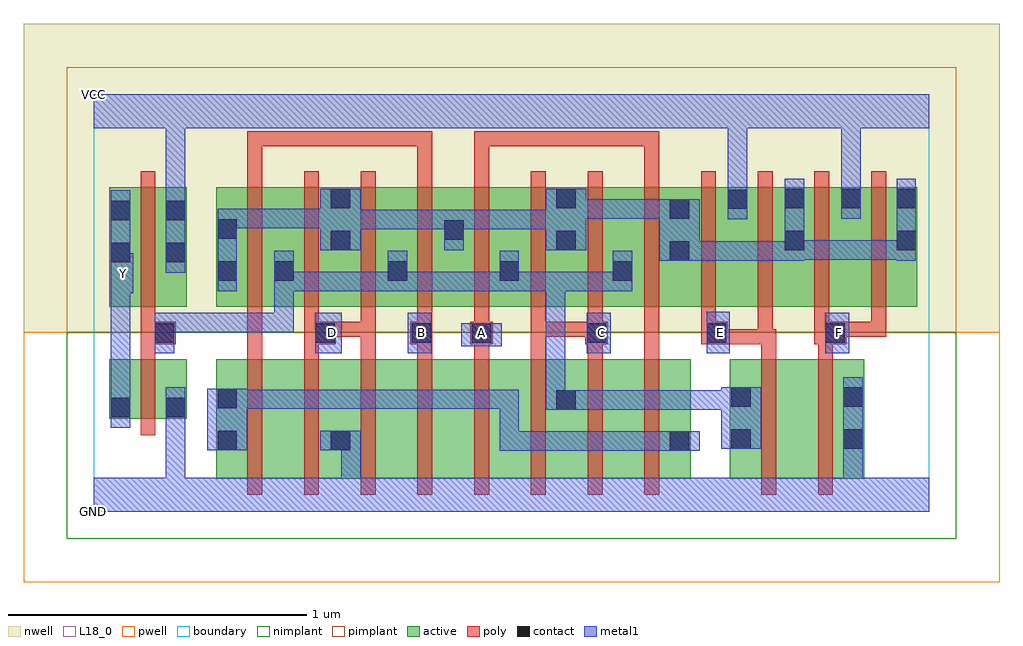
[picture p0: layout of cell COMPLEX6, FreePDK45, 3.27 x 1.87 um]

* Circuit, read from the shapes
.subckt COMPLEX6 A B C D E F GND VCC Y
M1 GND n1 Y VSUBS nfet w=0.2u l=0.05u
M2 n2 B n3 VSUBS nfet w=0.4u l=0.05u
M3 GND D n2 VSUBS nfet w=0.4u l=0.05u
M4 n4 D GND VSUBS nfet w=0.4u l=0.05u
M5 n5 B n4 VSUBS nfet w=0.4u l=0.05u
M6 n6 A n5 VSUBS nfet w=0.4u l=0.05u
M7 n1 C n6 VSUBS nfet w=0.4u l=0.05u
M8 n7 C n1 VSUBS nfet w=0.4u l=0.05u
M9 n3 A n7 VSUBS nfet w=0.4u l=0.05u
M10 n8 E n1 VSUBS nfet w=0.4u l=0.05u
M11 GND F n8 VSUBS nfet w=0.4u l=0.05u
M12 VCC n1 Y n9 pfet w=0.4u l=0.05u
M13 n1 B n10 n9 pfet w=0.4u l=0.05u m=2
M14 n10 D n1 n9 pfet w=0.4u l=0.05u m=2
M15 n1 A n10 n9 pfet w=0.4u l=0.05u m=2
M16 n10 C n1 n9 pfet w=0.4u l=0.05u m=2
M17 VCC E n10 n9 pfet w=0.4u l=0.05u m=2
M18 VCC F n10 n9 pfet w=0.4u l=0.05u m=2
.ends

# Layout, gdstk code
import gdstk
lib = gdstk.Library(unit=1e-6, precision=1e-09)
def R(c, l, rs):  # rectangles x0, y0, x1, y1
    for r in rs: c.add(gdstk.rectangle(r[:2], r[2:], *l))
def A(c, l, x, y, w, h, nx, ny, dx, dy):  # array of equal rectangles
    R(c, l, [(x+i*dx, y+j*dy, x+i*dx+w, y+j*dy+h) for i in range(nx) for j in range(ny)])
active = (1, 0)
pwell = (2, 0)
nwell = (3, 0)
nimplant = (4, 0)
pimplant = (5, 0)
poly = (9, 0)
contact = (10, 0)
metal1 = (11, 0)
L18_0 = (18, 0)
boundary = (235, 0)

complex6 = lib.new_cell('COMPLEX6')
A(complex6, active, 0.41, 0.687, 0.265, 0.4, 4, 1, 0.19, 0)
A(complex6, active, 1.355, 0.687, 0.265, 0.4, 3, 1, 0.19, 0)
R(complex6, active, [(0.41,0.112,0.635,0.512), (0.635,0.112,0.865,0.512), (0.79,0.112,1.015,0.512), (1.015,0.112,1.205,0.512), (1.205,0.112,1.395,0.512), (1.395,0.112,1.62,0.512), (1.545,0.112,1.775,0.512), (1.775,0.112,2,0.512), (2.132,0.112,2.357,0.512), (2.357,0.112,2.582,0.512), (0.41,0.147,0.515,0.512), (0.79,0.147,0.865,0.492), (1.545,0.147,1.62,0.492), (1.925,0.147,2,0.512), (2.132,0.147,2.237,0.512), (2.507,0.147,2.582,0.512), (0.052,0.312,0.127,0.512), (0.052,0.312,0.312,0.512), (0.237,0.312,0.312,0.512), (0.052,0.687,0.312,1.087), (0.052,0.687,0.127,1.057), (0.237,0.687,0.312,1.087), (0.41,0.687,0.485,1.067), (0.6,0.687,0.675,1.067), (1.17,0.687,1.43,1.087), (1.355,0.687,1.43,1.067), (1.735,0.687,1.81,1.067), (1.925,0.687,2.195,1.087), (2.12,0.687,2.385,1.087), (2.31,0.687,2.575,1.087), (2.5,0.687,2.76,1.087), (2.685,0.687,2.76,1.087), (0.98,0.77,1.055,1.067), (0.79,0.782,0.865,1.087), (1.545,0.782,1.62,1.087), (1.925,0.782,2,1.087), (2.12,0.782,2.195,1.085), (2.31,0.787,2.385,1.087), (1.17,0.802,1.245,1.067), (2.5,0.802,2.575,1.087)])
R(complex6, pwell, [(-0.235,-0.235,3.035,0.602)])
R(complex6, nwell, [(-0.235,0.602,3.035,1.635)])
R(complex6, nimplant, [(-0.09,-0.09,2.89,0.602)])
R(complex6, pimplant, [(-0.09,0.602,2.89,1.49)])
A(complex6, poly, 0.515, 0.057, 0.05, 0.51, 8, 1, 0.19, 0)
A(complex6, poly, 0.515, 0.587, 0.05, 0.095, 7, 1, 0.19, 0)
A(complex6, poly, 0.515, 0.632, 0.05, 0.51, 12, 1, 0.19, 0)
R(complex6, poly, [(2.237,0.057,2.287,0.567), (2.427,0.057,2.477,0.567), (0.157,0.257,0.207,0.567), (0.157,0.517,0.207,0.612), (0.515,0.517,0.565,0.637), (0.705,0.517,0.755,0.612), (0.895,0.517,0.945,0.637), (1.085,0.517,1.135,0.612), (1.275,0.517,1.325,0.612), (1.465,0.517,1.515,0.637), (1.655,0.517,1.705,0.612), (1.845,0.517,1.895,0.612), (2.237,0.517,2.287,0.612), (2.427,0.517,2.477,0.612), (0.157,0.562,0.275,0.637), (0.705,0.562,0.812,0.637), (1.06,0.562,1.135,0.637), (1.262,0.562,1.337,0.637), (1.647,0.562,1.722,0.637), (1.845,0.562,1.895,0.612), (1.845,0.562,1.895,0.682), (2.035,0.562,2.125,0.637), (2.075,0.562,2.275,0.612), (2.225,0.562,2.275,0.612), (2.225,0.562,2.275,0.612), (2.225,0.562,2.275,0.682), (2.225,0.562,2.287,0.612), (2.415,0.562,2.522,0.637), (0.157,0.587,0.207,0.682), (0.515,0.587,0.565,0.637), (0.762,0.587,0.945,0.637), (0.895,0.587,0.945,0.637), (0.895,0.587,0.945,0.637), (0.895,0.587,0.945,0.637), (1.465,0.587,1.515,0.637), (1.465,0.587,1.515,0.637), (1.465,0.587,1.515,0.637), (1.465,0.587,1.697,0.637), (2.035,0.587,2.085,0.682), (2.415,0.587,2.465,0.682), (2.472,0.587,2.655,0.637), (2.605,0.587,2.655,0.682), (2.605,0.587,2.655,0.637), (2.605,0.587,2.655,0.637), (2.605,0.587,2.655,0.637), (0.157,0.632,0.207,1.142), (0.515,1.092,0.565,1.275), (1.085,1.092,1.135,1.275), (1.275,1.092,1.325,1.275), (1.845,1.092,1.895,1.275), (0.515,1.225,0.565,1.275), (0.515,1.225,0.697,1.275), (0.647,1.225,0.697,1.275), (0.647,1.225,0.697,1.275), (0.647,1.225,0.697,1.275), (0.647,1.225,0.945,1.275), (0.895,1.225,0.945,1.275), (0.895,1.225,0.945,1.275), (0.895,1.225,0.945,1.275), (0.895,1.225,1.135,1.275), (1.085,1.225,1.135,1.275), (1.085,1.225,1.135,1.275), (1.085,1.225,1.135,1.275), (1.275,1.225,1.325,1.275), (1.275,1.225,1.325,1.275), (1.275,1.225,1.325,1.275), (1.275,1.225,1.565,1.275), (1.515,1.225,1.565,1.275), (1.515,1.225,1.565,1.275), (1.515,1.225,1.565,1.275), (1.515,1.225,1.697,1.275), (1.647,1.225,1.697,1.275), (1.647,1.225,1.895,1.275), (1.845,1.225,1.895,1.275), (1.845,1.225,1.895,1.275), (1.845,1.225,1.895,1.275)])
R(complex6, contact, [(1.93,0.205,1.995,0.27), (0.415,0.207,0.48,0.272), (0.795,0.207,0.86,0.272), (2.137,0.212,2.202,0.277), (2.512,0.212,2.577,0.277), (0.057,0.317,0.122,0.382), (0.242,0.317,0.307,0.382), (1.55,0.342,1.615,0.407), (0.415,0.347,0.48,0.412), (2.137,0.352,2.202,0.417), (2.512,0.352,2.577,0.417), (0.205,0.567,0.27,0.632), (0.742,0.567,0.807,0.632), (1.065,0.567,1.13,0.632), (1.267,0.567,1.332,0.632), (1.652,0.567,1.717,0.632), (2.055,0.567,2.12,0.632), (2.452,0.567,2.517,0.632), (0.415,0.775,0.48,0.84), (0.605,0.775,0.67,0.84), (0.985,0.775,1.05,0.84), (1.36,0.775,1.425,0.84), (1.74,0.775,1.805,0.84), (0.057,0.837,0.122,0.902), (0.242,0.837,0.307,0.902), (1.93,0.842,1.995,0.907), (0.795,0.877,0.86,0.942), (1.55,0.877,1.615,0.942), (2.315,0.877,2.38,0.942), (2.69,0.877,2.755,0.942), (1.175,0.912,1.24,0.977), (0.415,0.915,0.48,0.98), (0.057,0.977,0.122,1.042), (0.242,0.977,0.307,1.042), (1.93,0.982,1.995,1.047), (2.125,1.015,2.19,1.08), (0.795,1.017,0.86,1.082), (1.55,1.017,1.615,1.082), (2.315,1.017,2.38,1.082), (2.505,1.017,2.57,1.082), (2.69,1.017,2.755,1.082)])
R(complex6, metal1, [(0,0,2.8,0.115), (0.242,0.05,0.307,0.115), (0.242,0.05,0.307,0.115), (0.242,0.05,0.307,0.115), (0.242,0.05,0.307,0.115), (0.242,0.05,0.307,0.347), (0.83,0.05,0.895,0.272), (2.512,0.05,2.577,0.242), (2.512,0.177,2.577,0.452), (1.36,0.205,1.425,0.27), (1.36,0.205,1.425,0.27), (1.36,0.205,1.425,0.27), (1.36,0.205,1.562,0.27), (1.36,0.205,1.425,0.41), (1.497,0.205,1.562,0.27), (1.497,0.205,1.562,0.27), (1.497,0.205,1.562,0.27), (1.497,0.205,1.822,0.27), (1.757,0.205,1.822,0.27), (1.757,0.205,1.96,0.27), (1.895,0.205,1.96,0.27), (1.895,0.205,1.96,0.27), (1.895,0.205,2.03,0.27), (0.38,0.207,0.515,0.412), (0.76,0.207,0.895,0.272), (2.102,0.212,2.237,0.417), (0.057,0.282,0.122,0.417), (0.242,0.282,0.307,0.417), (1.515,0.342,1.65,0.407), (1.515,0.342,1.58,0.805), (1.585,0.342,1.65,0.407), (1.585,0.342,1.65,0.407), (1.585,0.342,1.822,0.407), (1.757,0.342,1.822,0.407), (1.757,0.342,1.967,0.407), (1.902,0.342,1.967,0.407), (1.902,0.342,1.967,0.407), (1.902,0.342,1.967,0.407), (1.902,0.342,2.105,0.407), (2.04,0.342,2.105,0.407), (2.04,0.342,2.167,0.407), (0.45,0.345,0.515,0.41), (0.45,0.345,0.515,0.41), (0.45,0.345,0.67,0.41), (0.605,0.345,0.67,0.41), (0.605,0.345,0.67,0.41), (0.605,0.345,0.67,0.41), (0.605,0.345,0.807,0.41), (0.742,0.345,0.807,0.41), (0.742,0.345,0.807,0.41), (0.742,0.345,0.807,0.41), (0.742,0.345,1.102,0.41), (1.037,0.345,1.102,0.41), (1.037,0.345,1.102,0.41), (1.037,0.345,1.102,0.41), (1.037,0.345,1.24,0.41), (1.175,0.345,1.24,0.41), (1.175,0.345,1.24,0.41), (1.175,0.345,1.24,0.41), (1.175,0.345,1.425,0.41), (1.36,0.345,1.425,0.41), (0.057,0.352,0.122,0.797), (0.205,0.532,0.27,0.667), (0.742,0.532,0.832,0.667), (1.052,0.532,1.132,0.667), (1.652,0.532,1.732,0.667), (2.055,0.532,2.132,0.67), (2.452,0.532,2.532,0.667), (1.232,0.555,1.367,0.632), (0.205,0.602,0.27,0.667), (0.205,0.602,0.27,0.667), (0.205,0.602,0.407,0.667), (0.342,0.602,0.407,0.667), (0.342,0.602,0.407,0.667), (0.342,0.602,0.407,0.667), (0.342,0.602,0.67,0.667), (0.605,0.602,0.67,0.667), (0.605,0.602,0.67,0.805), (0.057,0.732,0.132,0.867), (0.415,0.74,0.48,1.015), (0.605,0.74,0.67,0.805), (0.605,0.74,0.67,0.805), (0.605,0.74,0.67,0.875), (0.605,0.74,0.807,0.805), (0.742,0.74,0.807,0.805), (0.742,0.74,0.807,0.805), (0.742,0.74,0.807,0.805), (0.742,0.74,1.05,0.805), (0.985,0.74,1.05,0.805), (0.985,0.74,1.05,0.805), (0.985,0.74,1.05,0.875), (0.985,0.74,1.24,0.805), (1.175,0.74,1.24,0.805), (1.175,0.74,1.24,0.805), (1.175,0.74,1.24,0.805), (1.175,0.74,1.425,0.805), (1.36,0.74,1.425,0.805), (1.36,0.74,1.425,0.805), (1.36,0.74,1.425,0.875), (1.36,0.74,1.58,0.805), (1.515,0.74,1.58,0.805), (1.515,0.74,1.58,0.805), (1.515,0.74,1.58,0.805), (1.515,0.74,1.58,0.805), (1.515,0.74,1.58,0.805), (1.515,0.74,1.805,0.805), (1.74,0.74,1.805,0.875), (0.057,0.802,0.122,0.867), (0.057,0.802,0.122,1.077), (0.242,0.802,0.307,1.077), (1.895,0.842,2.03,1.047), (1.952,0.842,2.017,0.907), (1.952,0.842,2.017,0.907), (1.952,0.842,2.105,0.907), (2.04,0.842,2.105,0.907), (2.04,0.842,2.242,0.907), (2.177,0.842,2.242,0.907), (2.177,0.842,2.242,0.907), (2.177,0.842,2.242,0.907), (2.177,0.842,2.38,0.907), (2.315,0.842,2.38,1.117), (2.69,0.842,2.755,1.117), (2.315,0.845,2.517,0.91), (2.452,0.845,2.517,0.91), (2.452,0.845,2.517,0.91), (2.452,0.845,2.517,0.91), (2.452,0.845,2.755,0.91), (2.69,0.845,2.755,0.91), (2.69,0.845,2.755,0.91), (0.76,0.877,0.895,1.082), (1.175,0.877,1.24,1.012), (1.515,0.877,1.65,1.082), (0.83,0.947,0.895,1.012), (0.83,0.947,0.895,1.012), (0.83,0.947,1.032,1.012), (0.967,0.947,1.032,1.012), (0.967,0.947,1.032,1.012), (0.967,0.947,1.032,1.012), (0.967,0.947,1.24,1.012), (1.175,0.947,1.24,1.012), (1.175,0.947,1.24,1.012), (1.175,0.947,1.377,1.012), (1.312,0.947,1.377,1.012), (1.312,0.947,1.377,1.012), (1.312,0.947,1.377,1.012), (1.312,0.947,1.58,1.012), (0.415,0.95,0.48,1.015), (0.415,0.95,0.48,1.015), (0.415,0.95,0.652,1.015), (0.587,0.95,0.652,1.015), (0.587,0.95,0.652,1.015), (0.587,0.95,0.652,1.015), (0.587,0.95,0.825,1.015), (2.125,0.98,2.19,1.115), (1.585,0.982,1.65,1.047), (1.585,0.982,1.65,1.047), (1.585,0.982,1.822,1.047), (1.757,0.982,1.822,1.047), (1.757,0.982,1.822,1.047), (1.757,0.982,1.822,1.047), (1.757,0.982,1.96,1.047), (2.505,0.982,2.57,1.117), (0.242,1.012,0.307,1.35), (2.125,1.05,2.19,1.115), (2.125,1.05,2.19,1.115), (2.125,1.05,2.19,1.35), (2.505,1.052,2.57,1.117), (2.505,1.052,2.57,1.117), (2.505,1.052,2.57,1.35), (0,1.285,2.8,1.4), (0.242,1.285,0.307,1.35), (0.242,1.285,0.307,1.35)])
A(complex6, L18_0, 1.267, 0.567, 0.065, 0.065, 4, 1, 0.4, 0)
R(complex6, L18_0, [(0,0,2.8,0.115), (0.242,0.05,0.307,0.115), (0.242,0.05,0.307,0.115), (0.242,0.05,0.307,0.115), (0.242,0.05,0.307,0.115), (0.242,0.05,0.307,0.347), (0.83,0.05,0.895,0.272), (2.512,0.05,2.577,0.242), (2.512,0.177,2.577,0.452), (0.76,0.207,0.895,0.272), (0.057,0.282,0.122,0.417), (0.242,0.282,0.307,0.417), (0.057,0.352,0.122,0.797), (0.742,0.532,0.832,0.667), (1.052,0.532,1.132,0.667), (1.652,0.532,1.732,0.667), (2.055,0.532,2.132,0.67), (2.452,0.532,2.532,0.667), (1.232,0.555,1.367,0.632), (0.767,0.567,0.832,0.632), (1.067,0.567,1.132,0.632), (0.057,0.732,0.132,0.867), (0.067,0.767,0.132,0.832), (0.057,0.802,0.122,1.077), (0.057,0.802,0.122,0.867), (0.242,0.802,0.307,1.077), (2.125,0.98,2.19,1.115), (2.505,0.982,2.57,1.117), (0.242,1.012,0.307,1.35), (2.125,1.05,2.19,1.115), (2.125,1.05,2.19,1.115), (2.125,1.05,2.19,1.35), (2.505,1.052,2.57,1.117), (2.505,1.052,2.57,1.117), (2.505,1.052,2.57,1.35), (0,1.285,2.8,1.4), (0.242,1.285,0.307,1.35), (0.242,1.285,0.307,1.35)])
R(complex6, boundary, [(0,0,2.8,1.4)])
complex6.add(gdstk.Label('A', (1.3,0.6), layer=11, texttype=0))
complex6.add(gdstk.Label('B', (1.1,0.6), layer=11, texttype=0))
complex6.add(gdstk.Label('C', (1.7,0.6), layer=11, texttype=0))
complex6.add(gdstk.Label('D', (0.8,0.6), layer=11, texttype=0))
complex6.add(gdstk.Label('E', (2.1,0.6), layer=11, texttype=0))
complex6.add(gdstk.Label('F', (2.5,0.6), layer=11, texttype=0))
complex6.add(gdstk.Label('Y', (0.1,0.8), layer=11, texttype=0))
complex6.add(gdstk.Label('VCC', (0,1.4), layer=11, texttype=0))
complex6.add(gdstk.Label('GND', (0,0), layer=11, texttype=0))

lib.write_gds('COMPLEX6.gds')
